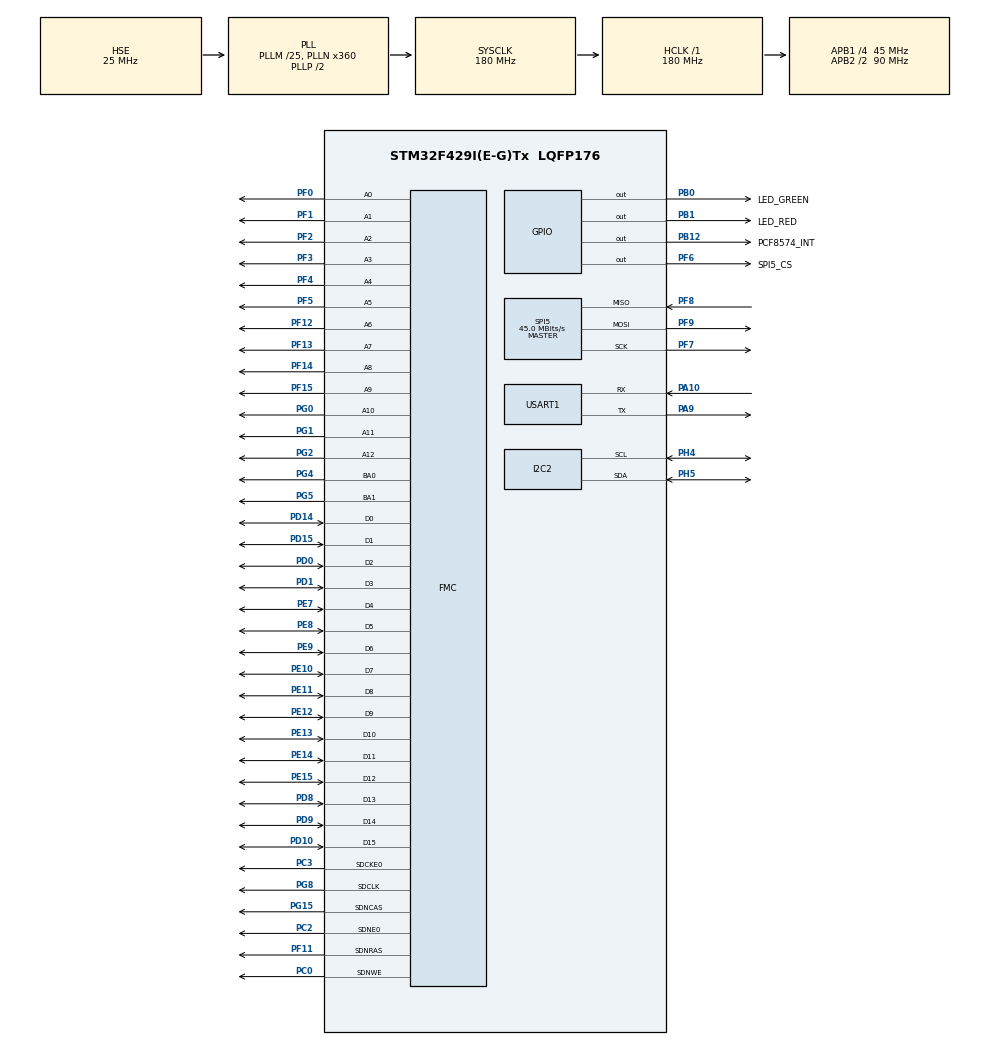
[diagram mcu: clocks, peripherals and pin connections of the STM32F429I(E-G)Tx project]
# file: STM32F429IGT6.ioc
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FMC.CASLatency1=FMC_SDRAM_CAS_LATENCY_3
FMC.ColumnBitsNumber1=FMC_SDRAM_COLUMN_BITS_NUM_9
FMC.ExitSelfRefreshDelay1=8
FMC.LoadToActiveDelay1=2
FMC.RCDDelay1=2
FMC.RPDelay1=2
FMC.ReadBurst1=FMC_SDRAM_RBURST_ENABLE
FMC.ReadPipeDelay1=FMC_SDRAM_RPIPE_DELAY_1
FMC.RowCycleDelay1=6
FMC.SDClockPeriod1=FMC_SDRAM_CLOCK_PERIOD_2
FMC.SelfRefreshTime1=6
FMC.WriteRecoveryTime1=4
FREERTOS.Tasks01=defaultTask,0,128,StartDefaultTask,Default,NULL,Dynamic,NULL,NULL;Blink,0,128,Start_Blink,Default,NULL,Dynamic,NULL,NULL;COM,0,128,Start_COM,Default,NULL,Dynamic,NULL,NULL;Debug,0,128,Start_Debug,Default,NULL,Dynamic,NULL,NULL
I2C2.I2C_Mode=I2C_Standard
I2C2.OwnAddress=0x66
Mcu.Family=STM32F4
Mcu.Name=STM32F429I(E-G)Tx
Mcu.Package=LQFP176
NVIC.PriorityGroup=NVIC_PRIORITYGROUP_4
NVIC.TIM8_TRG_COM_TIM14_IRQn=true\:15\:0\:false\:false\:true\:false\:false\:true\:true
NVIC.TimeBase=TIM8_TRG_COM_TIM14_IRQn
NVIC.TimeBaseIP=TIM14
PA10.Mode=Asynchronous
PA10.Signal=USART1_RX
PA13.Mode=Serial_Wire
PA13.Signal=SYS_JTMS-SWDIO
PA14.Mode=Serial_Wire
PA14.Signal=SYS_JTCK-SWCLK
PA9.Mode=Asynchronous
PA9.Signal=USART1_TX
PB0.GPIO_Label=LED_GREEN
PB0.GPIO_PuPd=GPIO_PULLUP
PB0.PinState=GPIO_PIN_SET
PB0.Signal=GPIO_Output
PB1.GPIO_Label=LED_RED
PB1.GPIO_PuPd=GPIO_PULLUP
PB1.PinState=GPIO_PIN_SET
PB1.Signal=GPIO_Output
PB12.GPIO_Label=PCF8574_INT
PB12.GPIO_PuPd=GPIO_PULLUP
PB12.PinState=GPIO_PIN_SET
PB12.Signal=GPIO_Output
PC0.Signal=FMC_SDNWE
PC14/OSC32_IN.Mode=LSE-External-Oscillator
PC14/OSC32_IN.Signal=RCC_OSC32_IN
PC15/OSC32_OUT.Mode=LSE-External-Oscillator
PC15/OSC32_OUT.Signal=RCC_OSC32_OUT
PC2.Mode=SdramChipSelect1_1
PC2.Signal=FMC_SDNE0
PC3.Mode=SdramChipSelect1_1
PC3.Signal=FMC_SDCKE0
PD0.Signal=FMC_D2_DA2
PD1.Signal=FMC_D3_DA3
PD10.Signal=FMC_D15_DA15
PD14.Signal=FMC_D0_DA0
PD15.Signal=FMC_D1_DA1
PD8.Signal=FMC_D13_DA13
PD9.Signal=FMC_D14_DA14
PE0.Signal=FMC_NBL0
PE1.Signal=FMC_NBL1
PE10.Signal=FMC_D7_DA7
PE11.Signal=FMC_D8_DA8
PE12.Signal=FMC_D9_DA9
PE13.Signal=FMC_D10_DA10
PE14.Signal=FMC_D11_DA11
PE15.Signal=FMC_D12_DA12
PE7.Signal=FMC_D4_DA4
PE8.Signal=FMC_D5_DA5
PE9.Signal=FMC_D6_DA6
PF0.Signal=FMC_A0
PF1.Signal=FMC_A1
PF11.Signal=FMC_SDNRAS
PF12.Signal=FMC_A6
PF13.Signal=FMC_A7
PF14.Signal=FMC_A8
PF15.Signal=FMC_A9
PF2.Signal=FMC_A2
PF3.Signal=FMC_A3
PF4.Signal=FMC_A4
PF5.Signal=FMC_A5
PF6.GPIO_Label=SPI5_CS
PF6.Signal=GPIO_Output
PF7.Mode=Full_Duplex_Master
PF7.Signal=SPI5_SCK
PF8.Mode=Full_Duplex_Master
PF8.Signal=SPI5_MISO
PF9.Mode=Full_Duplex_Master
PF9.Signal=SPI5_MOSI
PG0.Signal=FMC_A10
PG1.Signal=FMC_A11
PG15.Signal=FMC_SDNCAS
PG2.Signal=FMC_A12
PG4.Signal=FMC_A14_BA0
PG5.Signal=FMC_A15_BA1
PG8.Signal=FMC_SDCLK
PH0/OSC_IN.Mode=HSE-External-Oscillator
PH0/OSC_IN.Signal=RCC_OSC_IN
PH1/OSC_OUT.Mode=HSE-External-Oscillator
PH1/OSC_OUT.Signal=RCC_OSC_OUT
PH4.Mode=I2C
PH4.Signal=I2C2_SCL
PH5.Mode=I2C
PH5.Signal=I2C2_SDA
ProjectManager.HeapSize=0x200
ProjectManager.StackSize=0x400
ProjectManager.TargetToolchain=MDK-ARM V5.32
RCC.48MHZClocksFreq_Value=90000000
RCC.AHBFreq_Value=180000000
RCC.APB1CLKDivider=RCC_HCLK_DIV4
RCC.APB1Freq_Value=45000000
RCC.APB1TimFreq_Value=90000000
RCC.APB2CLKDivider=RCC_HCLK_DIV2
RCC.APB2Freq_Value=90000000
RCC.APB2TimFreq_Value=180000000
RCC.CortexFreq_Value=180000000
RCC.HCLKFreq_Value=180000000
RCC.HSE_VALUE=25000000
RCC.HSI_VALUE=16000000
RCC.PLLM=25
RCC.PLLN=360
RCC.PLLSourceVirtual=RCC_PLLSOURCE_HSE
RCC.SYSCLKFreq_VALUE=180000000
RCC.SYSCLKSource=RCC_SYSCLKSOURCE_PLLCLK
RCC.VCOOutputFreq_Value=360000000
SH.FMC_A0.0=FMC_A0,13b-sda1
SH.FMC_A1.0=FMC_A1,13b-sda1
SH.FMC_A10.0=FMC_A10,13b-sda1
SH.FMC_A11.0=FMC_A11,13b-sda1
SH.FMC_A12.0=FMC_A12,13b-sda1
SH.FMC_A14_BA0.0=FMC_BA0,FourSdramBanks1
SH.FMC_A15_BA1.0=FMC_BA1,FourSdramBanks1
SH.FMC_A2.0=FMC_A2,13b-sda1
SH.FMC_A3.0=FMC_A3,13b-sda1
SH.FMC_A4.0=FMC_A4,13b-sda1
SH.FMC_A5.0=FMC_A5,13b-sda1
SH.FMC_A6.0=FMC_A6,13b-sda1
SH.FMC_A7.0=FMC_A7,13b-sda1
SH.FMC_A8.0=FMC_A8,13b-sda1
SH.FMC_A9.0=FMC_A9,13b-sda1
SH.FMC_D0_DA0.0=FMC_D0,sd-16b-d1
SH.FMC_D10_DA10.0=FMC_D10,sd-16b-d1
SH.FMC_D11_DA11.0=FMC_D11,sd-16b-d1
SH.FMC_D12_DA12.0=FMC_D12,sd-16b-d1
SH.FMC_D13_DA13.0=FMC_D13,sd-16b-d1
SH.FMC_D14_DA14.0=FMC_D14,sd-16b-d1
SH.FMC_D15_DA15.0=FMC_D15,sd-16b-d1
SH.FMC_D1_DA1.0=FMC_D1,sd-16b-d1
SH.FMC_D2_DA2.0=FMC_D2,sd-16b-d1
SH.FMC_D3_DA3.0=FMC_D3,sd-16b-d1
SH.FMC_D4_DA4.0=FMC_D4,sd-16b-d1
SH.FMC_D5_DA5.0=FMC_D5,sd-16b-d1
SH.FMC_D6_DA6.0=FMC_D6,sd-16b-d1
SH.FMC_D7_DA7.0=FMC_D7,sd-16b-d1
SH.FMC_D8_DA8.0=FMC_D8,sd-16b-d1
SH.FMC_D9_DA9.0=FMC_D9,sd-16b-d1
SH.FMC_NBL0.0=FMC_NBL0
SH.FMC_NBL1.0=FMC_NBL1
SH.FMC_SDCLK.0=FMC_SDCLK,13b-sda1
SH.FMC_SDNCAS.0=FMC_SDNCAS,13b-sda1
SH.FMC_SDNRAS.0=FMC_SDNRAS,13b-sda1
SH.FMC_SDNWE.0=FMC_SDNWE,13b-sda1
SPI5.CLKPhase=SPI_PHASE_2EDGE
SPI5.CLKPolarity=SPI_POLARITY_HIGH
SPI5.CRCCalculation=SPI_CRCCALCULATION_DISABLE
SPI5.CalculateBaudRate=45.0 MBits/s
SPI5.Direction=SPI_DIRECTION_2LINES
SPI5.Mode=SPI_MODE_MASTER
SPI5.VirtualType=VM_MASTER
TIM10.Prescaler=179
USART1.VirtualMode=VM_ASYNC
VP_FREERTOS_VS_CMSIS_V1.Mode=CMSIS_V1
VP_SYS_VS_tim14.Mode=TIM14
VP_TIM10_VS_ClockSourceINT.Mode=Enable_Timer
board=custom

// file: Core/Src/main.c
/* USER CODE BEGIN Header */
/**
  ******************************************************************************
  * @file           : main.c
  * @brief          : Main program body
  ******************************************************************************
  * @attention
  *
  * Copyright (c) 2022 STMicroelectronics.
  * All rights reserved.
  *
  * This software is licensed under terms that can be found in the LICENSE file
  * in the root directory of this software component.
  * If no LICENSE file comes with this software, it is provided AS-IS.
  *
  ******************************************************************************
  */
/* USER CODE END Header */
#include "main.h"
#include "cmsis_os.h"
#include "i2c.h"
#include "spi.h"
#include "tim.h"
#include "usart.h"
#include "gpio.h"
#include "fmc.h"

void SystemClock_Config(void);
void MX_FREERTOS_Init(void);

int main(void)
{

  /* MCU Configuration--------------------------------------------------------*/

  /* Reset of all peripherals, Initializes the Flash interface and the Systick. */
  HAL_Init();

  /* Configure the system clock */
  SystemClock_Config();

  /* Initialize all configured peripherals */
  MX_GPIO_Init();
  MX_USART1_UART_Init();
  MX_I2C2_Init();
  MX_SPI5_Init();
  MX_TIM10_Init();
  MX_FMC_Init();

  /* Call init function for freertos objects (in freertos.c) */
  MX_FREERTOS_Init();

  /* Start scheduler */
  osKernelStart();

  /* We should never get here as control is now taken by the scheduler */
  /* Infinite loop */
  /* USER CODE BEGIN WHILE */
  while (1)
  {
    HAL_GPIO_TogglePin(LED_RED_GPIO_Port, LED_RED_Pin);
    HAL_Delay(150);
    HAL_GPIO_TogglePin(LED_RED_GPIO_Port, LED_RED_Pin);
    HAL_Delay(850);
    /* USER CODE END WHILE */

    /* USER CODE BEGIN 3 */
    HAL_GPIO_TogglePin(LED_GREEN_GPIO_Port, LED_GREEN_Pin);
    HAL_Delay(150);
    HAL_GPIO_TogglePin(LED_GREEN_GPIO_Port, LED_GREEN_Pin);
    HAL_Delay(850);
  }
  /* USER CODE END 3 */
}

void SystemClock_Config(void)
{
  RCC_OscInitTypeDef RCC_OscInitStruct = {0};
  RCC_ClkInitTypeDef RCC_ClkInitStruct = {0};

  /** Configure the main internal regulator output voltage
  */
  __HAL_RCC_PWR_CLK_ENABLE();
  __HAL_PWR_VOLTAGESCALING_CONFIG(PWR_REGULATOR_VOLTAGE_SCALE1);

  /** Initializes the RCC Oscillators according to the specified parameters
  * in the RCC_OscInitTypeDef structure.
  */
  RCC_OscInitStruct.OscillatorType = RCC_OSCILLATORTYPE_HSE;
  RCC_OscInitStruct.HSEState = RCC_HSE_ON;
  RCC_OscInitStruct.PLL.PLLState = RCC_PLL_ON;
  RCC_OscInitStruct.PLL.PLLSource = RCC_PLLSOURCE_HSE;
  RCC_OscInitStruct.PLL.PLLM = 25;
  RCC_OscInitStruct.PLL.PLLN = 360;
  RCC_OscInitStruct.PLL.PLLP = RCC_PLLP_DIV2;
  RCC_OscInitStruct.PLL.PLLQ = 4;
  if (HAL_RCC_OscConfig(&RCC_OscInitStruct) != HAL_OK)
  {
    Error_Handler();
  }

  /** Activate the Over-Drive mode
  */
  if (HAL_PWREx_EnableOverDrive() != HAL_OK)
  {
    Error_Handler();
  }

  /** Initializes the CPU, AHB and APB buses clocks
  */
  RCC_ClkInitStruct.ClockType = RCC_CLOCKTYPE_HCLK|RCC_CLOCKTYPE_SYSCLK
                              |RCC_CLOCKTYPE_PCLK1|RCC_CLOCKTYPE_PCLK2;
  RCC_ClkInitStruct.SYSCLKSource = RCC_SYSCLKSOURCE_PLLCLK;
  RCC_ClkInitStruct.AHBCLKDivider = RCC_SYSCLK_DIV1;
  RCC_ClkInitStruct.APB1CLKDivider = RCC_HCLK_DIV4;
  RCC_ClkInitStruct.APB2CLKDivider = RCC_HCLK_DIV2;

  if (HAL_RCC_ClockConfig(&RCC_ClkInitStruct, FLASH_LATENCY_5) != HAL_OK)
  {
    Error_Handler();
  }
}

void HAL_TIM_PeriodElapsedCallback(TIM_HandleTypeDef *htim)
{
  if (htim->Instance == TIM14) {
    HAL_IncTick();
  }
}

void Error_Handler(void)
{
  __disable_irq();
  while (1)
  {
  }
}

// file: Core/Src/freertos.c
/* USER CODE BEGIN Header */
/**
  ******************************************************************************
  * File Name          : freertos.c
  * Description        : Code for freertos applications
  ******************************************************************************
  * @attention
  *
  * Copyright (c) 2022 STMicroelectronics.
  * All rights reserved.
  *
  * This software is licensed under terms that can be found in the LICENSE file
  * in the root directory of this software component.
  * If no LICENSE file comes with this software, it is provided AS-IS.
  *
  ******************************************************************************
  */
/* USER CODE END Header */

#include "FreeRTOS.h"
#include "task.h"
#include "main.h"
#include "cmsis_os.h"

osThreadId defaultTaskHandle;
osThreadId BlinkHandle;
osThreadId COMHandle;
osThreadId DebugHandle;

void StartDefaultTask(void const * argument);
void Start_Blink(void const * argument);
void Start_COM(void const * argument);
void Start_Debug(void const * argument);

void MX_FREERTOS_Init(void); /* (MISRA C 2004 rule 8.1) */

/* GetIdleTaskMemory prototype (linked to static allocation support) */
void vApplicationGetIdleTaskMemory( StaticTask_t **ppxIdleTaskTCBBuffer, StackType_t **ppxIdleTaskStackBuffer, uint32_t *pulIdleTaskStackSize );

/* USER CODE BEGIN GET_IDLE_TASK_MEMORY */
static StaticTask_t xIdleTaskTCBBuffer;
static StackType_t xIdleStack[configMINIMAL_STACK_SIZE];

void vApplicationGetIdleTaskMemory( StaticTask_t **ppxIdleTaskTCBBuffer, StackType_t **ppxIdleTaskStackBuffer, uint32_t *pulIdleTaskStackSize )
{
  *ppxIdleTaskTCBBuffer = &xIdleTaskTCBBuffer;
  *ppxIdleTaskStackBuffer = &xIdleStack[0];
  *pulIdleTaskStackSize = configMINIMAL_STACK_SIZE;
  /* place for user code */
}
/* USER CODE END GET_IDLE_TASK_MEMORY */

void MX_FREERTOS_Init(void) {

  /* Create the thread(s) */
  /* definition and creation of defaultTask */
  osThreadDef(defaultTask, StartDefaultTask, osPriorityNormal, 0, 128);
  defaultTaskHandle = osThreadCreate(osThread(defaultTask), NULL);

  /* definition and creation of Blink */
  osThreadDef(Blink, Start_Blink, osPriorityNormal, 0, 128);
  BlinkHandle = osThreadCreate(osThread(Blink), NULL);

  /* definition and creation of COM */
  osThreadDef(COM, Start_COM, osPriorityNormal, 0, 128);
  COMHandle = osThreadCreate(osThread(COM), NULL);

  /* definition and creation of Debug */
  osThreadDef(Debug, Start_Debug, osPriorityNormal, 0, 128);
  DebugHandle = osThreadCreate(osThread(Debug), NULL);

}

void StartDefaultTask(void const * argument)
{
  /* USER CODE BEGIN StartDefaultTask */
  PCF8574_Init();
  SDRAM_Init();
  /* Infinite loop */
  for(;;)
  {
    osDelay(1);
  }
  /* USER CODE END StartDefaultTask */
}

void Start_Blink(void const * argument)
{
  /* USER CODE BEGIN Start_Blink */
  F429_LED(LED_COLOR_RED, LED_ON);
  PCF8574_WriteBit(IO_BEEP, IO_ENABLE);
  osDelay(200);
  PCF8574_WriteBit(IO_BEEP, IO_DISABLE);
  osDelay(800);
  F429_LED(LED_COLOR_RED, LED_OFF);
  /* Infinite loop */
  for(;;)
  {
    F429_LED_Toggle(LED_COLOR_GREEN);
    osDelay(150);
    F429_LED_Toggle(LED_COLOR_GREEN);
    osDelay(850);
  }
  /* USER CODE END Start_Blink */
}

void Start_COM(void const * argument)
{
  /* USER CODE BEGIN Start_COM */
  osDelay(1000);
  /* Infinite loop */
  for(;;)
  {
    osDelay(1);
  }
  /* USER CODE END Start_COM */
}

void Start_Debug(void const * argument)
{
  /* USER CODE BEGIN Start_Debug */
  osDelay(1000);
  F429_Test();
  /* Infinite loop */
  for(;;)
  {
    osDelay(1);
  }
  /* USER CODE END Start_Debug */
}
